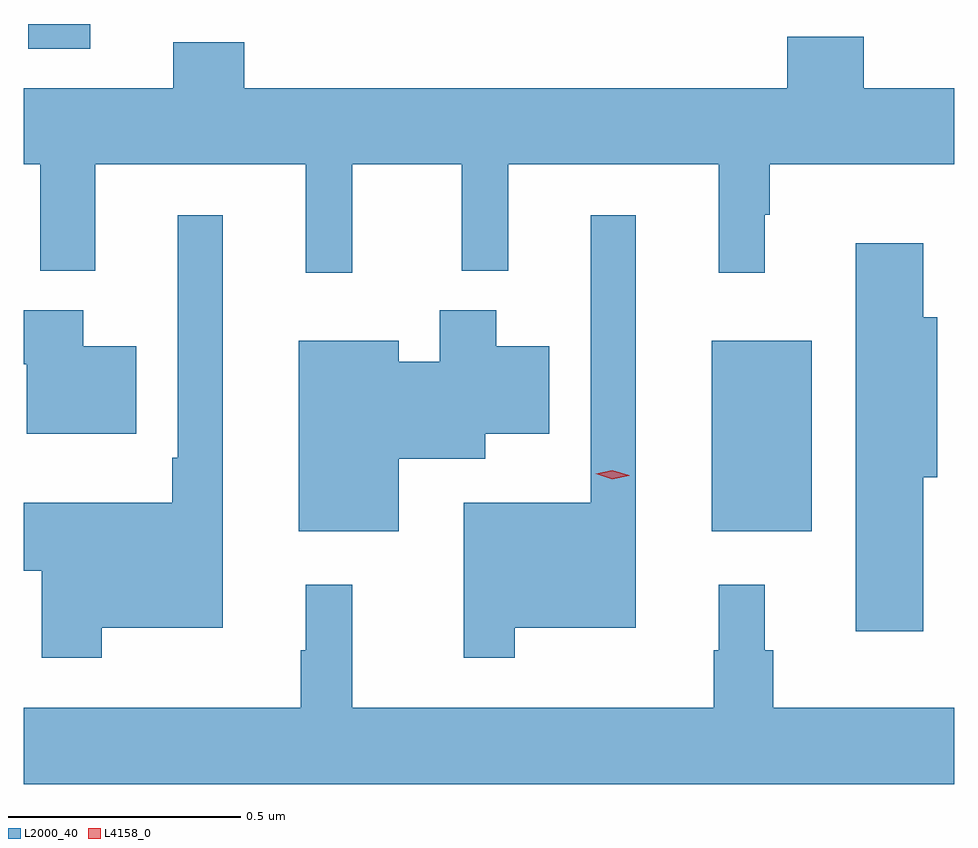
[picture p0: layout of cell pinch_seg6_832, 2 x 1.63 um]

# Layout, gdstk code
import gdstk
lib = gdstk.Library(unit=1e-6, precision=1e-09)
def R(c, l, rs):  # rectangles x0, y0, x1, y1
    for r in rs: c.add(gdstk.rectangle(r[:2], r[2:], *l))
def P(c, l, *ps):  # polygons
    for p in ps: c.add(gdstk.Polygon(p, *l))
L2000_40 = (2000, 40)
L4158_0 = (4158, 0)

pinch_seg6_832 = lib.new_cell('pinch_seg6_832')
R(pinch_seg6_832, L2000_40, [(192.359,994.499,192.574,994.909), (190.889,995.537,191.023,995.59)])
P(pinch_seg6_832, L2000_40, [(191.586,995.288),(191.821,995.288),(191.821,995.06),(191.921,995.06),(191.921,995.288),(192.374,995.288),(192.374,995.055),(192.473,995.055),(192.473,995.18),(192.484,995.18),(192.484,995.288),(192.88,995.288),(192.88,995.452),(192.686,995.452),(192.686,995.563),(192.521,995.563),(192.521,995.452),(191.354,995.452),(191.354,995.551),(191.201,995.551),(191.201,995.452),(190.88,995.452),(190.88,995.288),(190.915,995.288),(190.915,995.06),(191.033,995.06),(191.033,995.288),(191.486,995.288),(191.486,995.055),(191.586,995.055)],
  [(191.935,994.292),(192.196,994.292),(192.196,995.179),(192.099,995.179),(192.099,994.561),(191.826,994.561),(191.826,994.227),(191.935,994.227)],
  [(191.047,994.292),(191.308,994.292),(191.308,995.179),(191.211,995.179),(191.211,994.657),(191.199,994.657),(191.199,994.561),(190.88,994.561),(190.88,994.414),(190.918,994.414),(190.918,994.227),(191.047,994.227)],
  [(192.814,994.616),(192.844,994.616),(192.844,994.96),(192.814,994.96),(192.814,995.119),(192.668,995.119),(192.668,994.284),(192.814,994.284)],
  [(191.686,994.655),(191.872,994.655),(191.872,994.709),(192.01,994.709),(192.01,994.897),(191.896,994.897),(191.896,994.975),(191.774,994.975),(191.774,994.864),(191.686,994.864),(191.686,994.909),(191.471,994.909),(191.471,994.499),(191.686,994.499)],
  [(191.122,994.897),(191.008,994.897),(191.008,994.975),(190.88,994.975),(190.88,994.858),(190.886,994.858),(190.886,994.709),(191.122,994.709)],
  [(192.88,994.12),(192.491,994.12),(192.491,994.244),(192.473,994.244),(192.473,994.384),(192.374,994.384),(192.374,994.244),(192.363,994.244),(192.363,994.12),(191.586,994.12),(191.586,994.384),(191.486,994.384),(191.486,994.244),(191.475,994.244),(191.475,994.12),(190.88,994.12),(190.88,993.956),(192.88,993.956)])
P(pinch_seg6_832, L4158_0, [(192.145,994.611),(192.109,994.623),(192.109,994.623),(192.109,994.623),(192.145,994.631),(192.181,994.62),(192.181,994.62),(192.181,994.619)])

lib.write_gds('pinch_seg6_832.gds')
